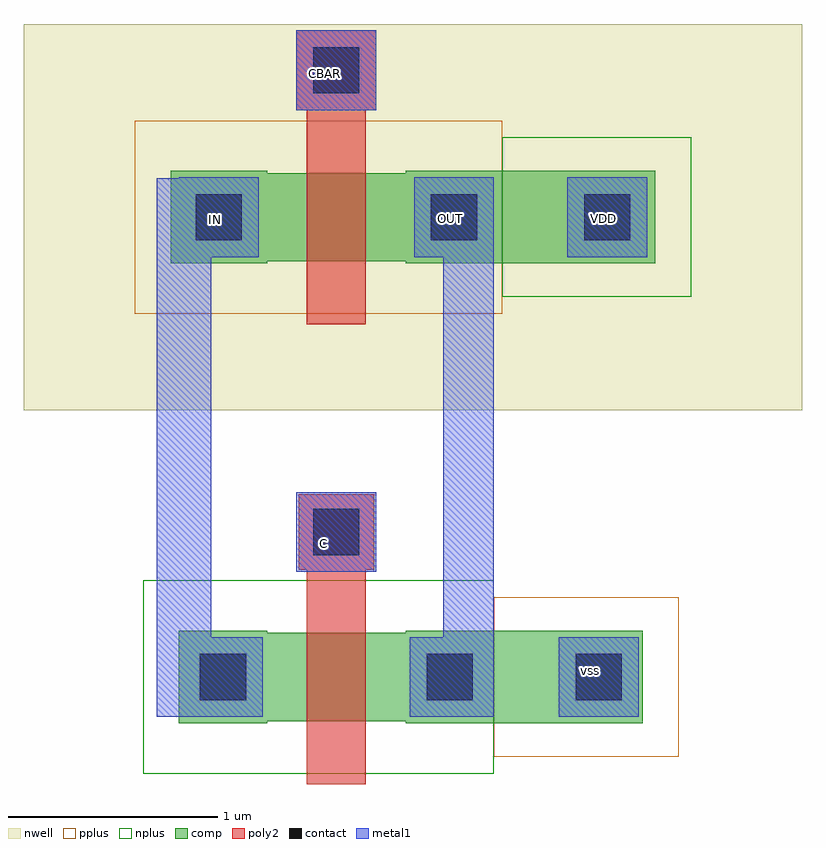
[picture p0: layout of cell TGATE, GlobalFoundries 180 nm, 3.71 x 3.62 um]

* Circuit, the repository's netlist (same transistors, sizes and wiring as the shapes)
** sch_path: /foss/designs/CAD2/tgate.sch
.subckt tgate in vdd cbar c vss out
*.PININFO in:I out:O cbar:I c:I vdd:B vss:B
M1 out cbar in vdd pfet_03v3 L=0.28u W=0.42u nf=1 m=1
M2 out c in vss nfet_03v3 L=0.28u W=0.42u nf=1 m=1
.ends

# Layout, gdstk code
import gdstk
lib = gdstk.Library(unit=1e-6, precision=5e-09)
def R(c, l, rs):  # rectangles x0, y0, x1, y1
    for r in rs: c.add(gdstk.rectangle(r[:2], r[2:], *l))
nwell = (21, 0)
comp = (22, 0)
poly2 = (30, 0)
pplus = (31, 0)
nplus = (32, 0)
contact = (33, 0)
metal1 = (34, 0)

nfet_1 = lib.new_cell('nfet$1')
R(nfet_1, comp, [(-0.42,-0.01,0,0.43), (0.66,-0.01,1.08,0.43), (1.08,-0.01,1.79,0.43), (0,0,0.66,0.42)])
R(nfet_1, poly2, [(0.19,-0.3,0.47,0.72), (0.15,0.72,0.51,1.08)])
R(nfet_1, pplus, [(1.08,-0.17,1.96,0.59)])
R(nfet_1, nplus, [(-0.59,-0.25,1.08,0.67)])
R(nfet_1, contact, [(-0.32,0.1,-0.1,0.32), (0.76,0.1,0.98,0.32), (1.47,0.1,1.69,0.32), (0.22,0.79,0.44,1.01)])
R(nfet_1, metal1, [(-0.4,0.02,-0.02,0.4), (0.68,0.02,1.06,0.4), (1.39,0.02,1.77,0.4), (0.14,0.71,0.52,1.09)])

pfet = lib.new_cell('pfet')
R(pfet, nwell, [(-1.16,-0.71,2.55,1.13)])
R(pfet, comp, [(-0.46,-0.01,0,0.43), (0.66,-0.01,1.12,0.43), (1.12,-0.01,1.85,0.43), (0,0,0.66,0.42)])
R(pfet, poly2, [(0.19,-0.3,0.47,0.72), (0.14,0.72,0.52,1.1)])
R(pfet, pplus, [(-0.63,-0.25,1.12,0.67)])
R(pfet, nplus, [(1.12,-0.17,2.02,0.59)])
R(pfet, contact, [(-0.34,0.1,-0.12,0.32), (0.78,0.1,1,0.32), (1.51,0.1,1.73,0.32), (0.22,0.8,0.44,1.02)])
R(pfet, metal1, [(-0.42,0.02,-0.04,0.4), (0.7,0.02,1.08,0.4), (1.43,0.02,1.81,0.4), (0.14,0.72,0.52,1.1)])

tgate = lib.new_cell('TGATE')
R(tgate, metal1, [(-0.895,-2.11,-0.635,0.455), (0.47,-2.11,0.71,0.45)])
tgate.add(gdstk.Reference(nfet_1, (-0.37,-2.13)))
tgate.add(gdstk.Reference(pfet, (-0.37,0.06)))
tgate.add(gdstk.Label('VDD', (1.23,0.265), layer=34, texttype=10))
tgate.add(gdstk.Label('vss', (1.17,-1.89), layer=34, texttype=10))
tgate.add(gdstk.Label('IN', (-0.615,0.26), layer=34, texttype=10))
tgate.add(gdstk.Label('OUT', (0.505,0.265), layer=34, texttype=10))
tgate.add(gdstk.Label('C', (-0.1,-1.285), layer=34, texttype=10))
tgate.add(gdstk.Label('CBAR', (-0.095,0.955), layer=34, texttype=10))

lib.write_gds('TGATE.gds')
